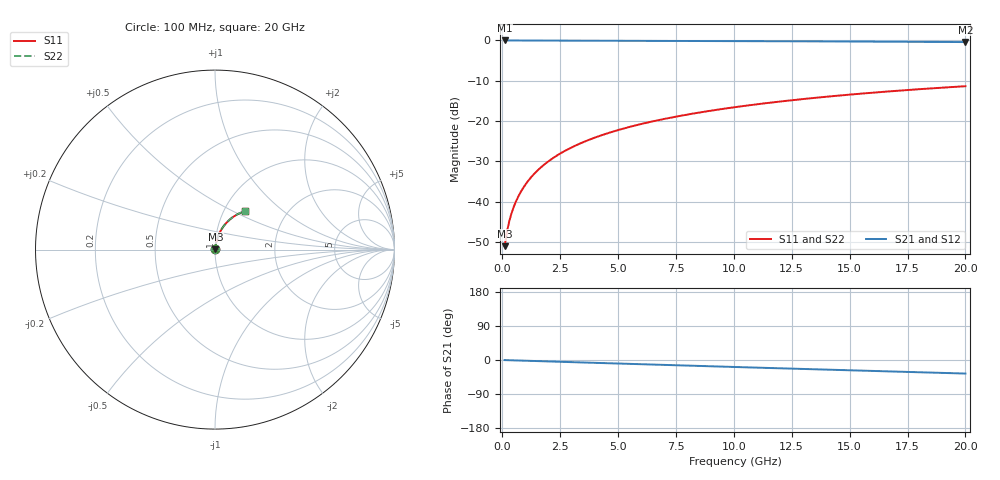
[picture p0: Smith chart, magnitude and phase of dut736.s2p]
! Touchstone file exported from HFSS 2026.1.0
!  File:  C:/ffzhzh/LocalFiles/Ansys_Project_Files/temp_train_BSMRDL_736_1783168626_22436.aedt
!  Generated:  08:38:14 PM Jul  4, 2026
!  Design:  BSMRDL
!  Project:  temp_train_BSMRDL_736_1783168626_22436
! Variables:
!  h_bsmrdl = 4.2um
!  h_ox = 20um
!  h_rdl = 5um
!  h_sub = 80um
!  h_tmrdl = 5um
!  h_tsv = 80um
!  h_via = 3um
!  l_bsmrdl = 549.6um
!  l_sub = 949.6um
!  l_tmrdl = 200um
!  m_sub = 200um
!  pitch = 43.61um
!  r_tsv = 6um
!  s_tmrdl = 10um
!  w_bsmrdl = 24.25um
!  w_sub = 500um
!  w_tmrdl = 12um
!  x_tsv_center1 = 206um
!  x_tsv_center2 = 779.85um
!  x_tsv_center3 = 991.85um
!  x_tsv_center4 = 1565.7um
!  x_tsv_center5 = 1777.7um
!  x_tsv_center6 = 2351.55um
# GHz S MA R 50.000000
! Terminal data exported
! Port[1] = BSM_RDL1_1_T1
! Port[2] = BSM_RDL1_1_T2
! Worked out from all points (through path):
!   200 points, 100 MHz to 20 GHz, reference 50 ohm
!   highest |S21| = -0.02 dB at 100 MHz (marker M1); lowest = -0.4 dB at 20 GHz (marker M2)
!   group delay of S21, straight-line fit = 4.96 ps
!   lowest |S11| = -51.1 dB at 100 MHz (marker M3), VSWR 1.01, Z = 50.2 + j0.181 ohm
!   |S11| at or under -10 dB: start of sweep to end of sweep
!   |S22| runs from -51.1 to -11.4 dB; largest |S21 - S12| = 5e-15
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0.1  0.00279 40.2  0.9979 -0.2  0.9979 -0.2  0.00279 40.2
! Gamma 0 0 0 0
! Port Impedance 50 0 50 0
0.2  0.004194 56.6  0.9977 -0.4  0.9977 -0.4  0.004193 56.6
0.3  0.005682 64.0  0.9975 -0.6  0.9975 -0.6  0.005681 64.0
0.4  0.00717 68.3  0.9974 -0.8  0.9974 -0.8  0.007168 68.3
0.5  0.00866 71.2  0.9973 -1.0  0.9973 -1.0  0.008657 71.2
0.6  0.01016 73.3  0.9973 -1.1  0.9973 -1.1  0.01016 73.3
0.8  0.01318 76.1  0.9972 -1.5  0.9972 -1.5  0.01318 76.1
1.1  0.01777 78.4  0.997 -2.1  0.997 -2.1  0.01777 78.4
1.3  0.02085 79.3  0.9968 -2.5  0.9968 -2.5  0.02085 79.3
1.6  0.02548 79.9  0.9966 -3.0  0.9966 -3.0  0.02548 80.0
2.1  0.03321 80.3  0.9962 -4.0  0.9962 -4.0  0.03321 80.3
2.7  0.04243 80.0  0.9955 -5.1  0.9955 -5.1  0.04243 80.0
3.5  0.05461 79.2  0.9945 -6.6  0.9945 -6.6  0.05461 79.2
4.2  0.06514 78.2  0.9934 -7.9  0.9934 -7.9  0.06514 78.2
5  0.07702 76.9  0.9921 -9.3  0.9921 -9.3  0.07702 77.0
5.9  0.09018 75.5  0.9904 -11.0  0.9904 -11.0  0.09018 75.5
6.8  0.1031 74.0  0.9887 -12.6  0.9887 -12.6  0.1031 74.1
8.3  0.1243 71.5  0.9855 -15.3  0.9855 -15.3  0.1243 71.6
10.1  0.149 68.5  0.9813 -18.6  0.9813 -18.6  0.149 68.6
13.4  0.1922 63.0  0.9728 -24.4  0.9728 -24.4  0.1922 63.1
16.7  0.2326 57.6  0.9632 -30.1  0.9632 -30.1  0.2326 57.6
20  0.2698 52.1  0.9529 -35.7  0.9529 -35.7  0.2698 52.2
